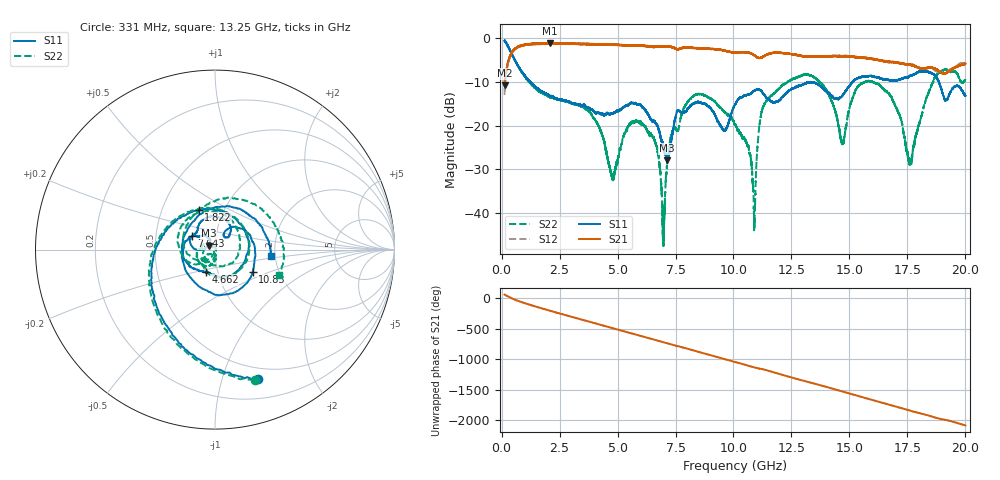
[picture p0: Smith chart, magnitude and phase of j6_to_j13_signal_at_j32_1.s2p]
!Created with skrf (http://scikit-rf.org).
# GHz S RI R 50.0
!freq ReS11 ImS11 ReS21 ImS21 ReS12 ImS12 ReS22 ImS22
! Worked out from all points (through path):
!   20013 points, 130 MHz to 20 GHz, reference 50 ohm
!   highest |S21| = -1.08 dB at 2.069 GHz (marker M1); lowest = -10.8 dB at 130 MHz (marker M2)
!   group delay of S21, straight-line fit = 292 ps
!   lowest |S11| = -28.0 dB at 7.131 GHz (marker M3), VSWR 1.08, Z = 46.7 + j1.97 ohm
!   |S11| at or under -10 dB: 1.254 GHz to 13.31 GHz (12.06 GHz wide, 166 % of centre); 13.35 GHz to 15.13 GHz (1.783 GHz wide, 12.5 % of centre); 18.86 GHz to end of sweep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
!   |S22| runs from -47.7 to -0.5 dB; largest |S21 - S12| = 0.066
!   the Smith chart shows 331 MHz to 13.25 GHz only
!   S11 on the Smith chart (normalised r, x): 331 MHz: 0.39, -1.32; 1.822 GHz: 0.76, +0.36; 4.662 GHz: 0.87, -0.22; 7.643 GHz: 0.77, +0.12; 10.83 GHz: 1.47, -0.39; 13.25 GHz: 1.89, -0.14
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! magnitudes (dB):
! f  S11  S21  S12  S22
! 130 MHz  -0.5  -10.8  -13.0  -0.5
! 331 MHz  -2.4  -4.5  -4.7  -2.4
! 1.822 GHz  -12.4  -1.2  -1.1  -12.7
! 2.069 GHz  -13.3  -1.1  -1.1  -13.4
! 3.442 GHz  -15.4  -1.3  -1.3  -15.6
! 4.662 GHz  -17.3  -1.4  -1.3  -29.7
! 5.725 GHz  -14.9  -1.6  -1.7  -19.2
! 6.754 GHz  -20.5  -1.9  -1.9  -26.5
! 6.966 GHz  -24.6  -1.8  -1.8  -46.7
! 7.131 GHz  -28.0  -1.8  -1.8  -29.1
! 7.643 GHz  -16.6  -2.4  -2.3  -20.4
! 10.06 GHz  -15.1  -3.2  -3.2  -19.8
! 10.83 GHz  -12.3  -3.7  -3.6  -33.3
! 11.35 GHz  -13.1  -4.0  -3.9  -15.0
! 13.25 GHz  -10.1  -4.2  -4.1  -8.4
! 13.38 GHz  -10.1  -4.2  -4.2  -8.6
! 14.69 GHz  -13.1  -4.2  -4.0  -24.0
! 15.4 GHz  -9.0  -4.4  -4.3  -10.8
! 16.69 GHz  -9.5  -5.4  -5.4  -12.6
! 17.61 GHz  -8.6  -6.1  -6.0  -28.2
! 18.73 GHz  -8.8  -7.1  -7.3  -8.5
! 20 GHz  -13.2  -5.8  -5.9  -9.4
